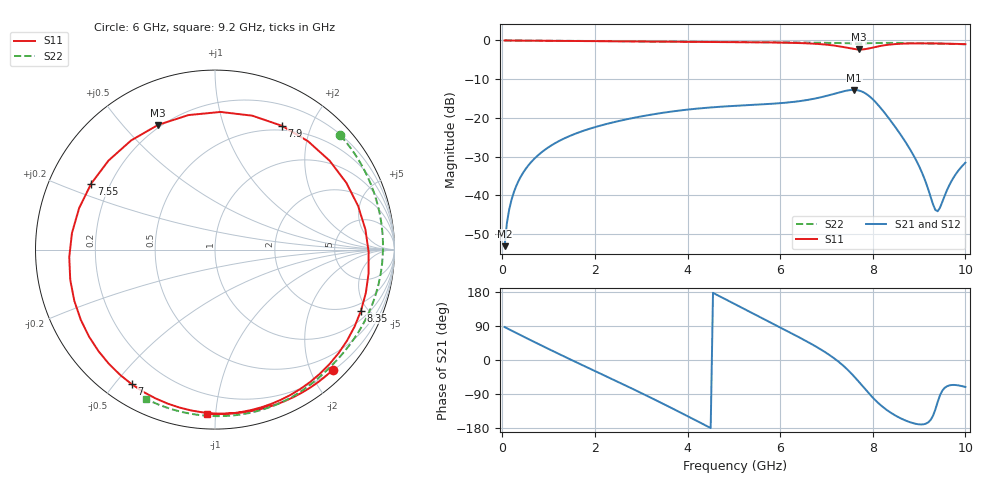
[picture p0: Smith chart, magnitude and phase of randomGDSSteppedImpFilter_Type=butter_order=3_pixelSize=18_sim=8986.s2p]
! freq	dB(S11)	phase(S11)	dB(S12)	phase(S12)
!  dB(S21)	phase(S21)	dB(S22)	phase(S22)
!S-par simulation data
#  GHz  S  DB  R 50
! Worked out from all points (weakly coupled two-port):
!   200 points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, 50 MHz to 10 GHz, reference 50 ohm
!   highest |S21| = -12.78 dB at 7.6 GHz (marker M1); lowest = -53.1 dB at 50 MHz (marker M2)
!   lowest |S11| = -2.3 dB at 7.7 GHz (marker M3), VSWR 7.47, Z = 9.4 + j31.3 ohm
!   |S11| at or under -10 dB: nowhere
!   |S22| runs from -1.0 to 0.0 dB; largest |S21 - S12| = 0
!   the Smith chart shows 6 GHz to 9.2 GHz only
!   S11 on the Smith chart (normalised r, x): 6 GHz: 0.21, -2.36; 7 GHz: 0.08, -0.56; 7.55 GHz: 0.13, +0.25; 7.9 GHz: 0.44, +1.59; 8.35 GHz: 1.48, -4.53; 9.2 GHz: 0.08, -0.95
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0.05  -0.01 -3.5  -53.13 86.9  -53.13 86.9  -0.01 -2.8
0.2  -0.04 -13.7  -41.11 77.6  -41.11 77.6  -0.03 -11.1
0.5  -0.06 -33.8  -33.27 59.2  -33.27 59.2  -0.04 -27.4
1.15  -0.11 -77.4  -26.47 20.2  -26.47 20.2  -0.09 -62.2
1.75  -0.17 -117.3  -23.34 -14.8  -23.34 -14.8  -0.13 -93.2
2.6  -0.25 -174.5  -20.58 -63.7  -20.58 -63.7  -0.20 -135.6
3.4  -0.32 129.6  -18.81 -111.1  -18.81 -111.1  -0.27 -175.3
4.15  -0.38 76.1  -17.68 -157.5  -17.68 -157.5  -0.33 146.1
5.05  -0.44 14.6  -16.87 145.5  -16.87 145.5  -0.42 96.8
6  -0.56 -45.7  -16.20 85.9  -16.20 85.9  -0.49 42.4
6.7  -0.82 -94.3  -15.13 40.6  -15.13 40.6  -0.57 3.3
7  -1.09 -121.6  -14.32 18.5  -14.32 18.5  -0.62 -12.6
7.55  -2.14 151.9  -12.78 -37.2  -12.78 -37.2  -0.75 -39.6
7.6  -2.23 140.1  -12.78 -43.8  -12.78 -43.8  -0.76 -41.9
7.7  -2.34 114.5  -12.94 -57.6  -12.94 -57.6  -0.75 -46.4
7.9  -2.11 61.6  -14.16 -86.1  -14.16 -86.1  -0.71 -55.5
8.1  -1.58 17.0  -16.46 -111.5  -16.46 -111.5  -0.65 -64.7
8.35  -1.09 -22.7  -20.16 -136.0  -20.16 -136.0  -0.63 -76.3
8.7  -0.81 -58.7  -26.10 -159.3  -26.10 -159.3  -0.66 -92.2
9.2  -0.76 -92.8  -38.54 -164.3  -38.54 -164.3  -0.76 -114.7
9.4  -0.79 -103.9  -44.11 -111.2  -44.11 -111.2  -0.81 -123.7
10  -0.96 -134.1  -31.57 -71.2  -31.57 -71.2  -0.99 -152.5
